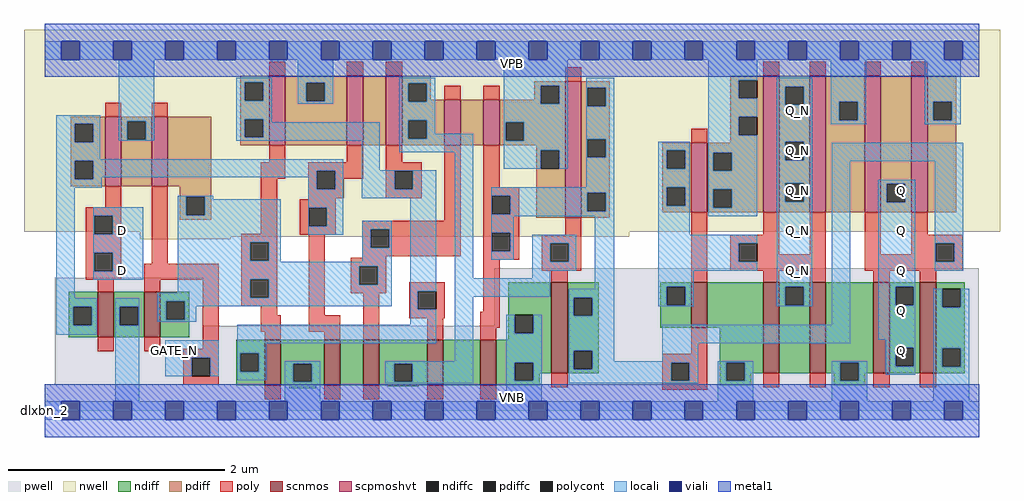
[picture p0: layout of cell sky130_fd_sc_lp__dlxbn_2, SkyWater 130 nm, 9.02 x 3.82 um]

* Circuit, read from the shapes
.subckt sky130_fd_sc_lp__dlxbn_2 D GATE_N VGND VNB VPB VPWR Q Q_N
XM1 VGND D n1 VNB sky130_fd_pr__nfet_01v8 w=0.42 l=0.15
XM2 n2 GATE_N VGND VNB sky130_fd_pr__nfet_01v8 w=0.42 l=0.15
XM3 VGND n2 n3 VNB sky130_fd_pr__nfet_01v8 w=0.42 l=0.15
XM4 n4 n1 VGND VNB sky130_fd_pr__nfet_01v8 w=0.42 l=0.15
XM5 n5 n2 n4 VNB sky130_fd_pr__nfet_01v8 w=0.42 l=0.15
XM6 n6 n3 n5 VNB sky130_fd_pr__nfet_01v8 w=0.42 l=0.15
XM7 VGND n7 n6 VNB sky130_fd_pr__nfet_01v8 w=0.42 l=0.15
XM8 n7 n5 VGND VNB sky130_fd_pr__nfet_01v8 w=0.84 l=0.15
XM9 VGND n7 n8 VNB sky130_fd_pr__nfet_01v8 w=0.42 l=0.15
XM10 Q_N n8 VGND VNB sky130_fd_pr__nfet_01v8 w=0.84 l=0.15 m=2
XM11 Q n7 VGND VNB sky130_fd_pr__nfet_01v8 w=0.84 l=0.15 m=2
XM12 VPWR D n1 VPB sky130_fd_pr__pfet_01v8_hvt w=0.64 l=0.15
XM13 n2 GATE_N VPWR VPB sky130_fd_pr__pfet_01v8_hvt w=0.64 l=0.15
XM14 VPWR n2 n3 VPB sky130_fd_pr__pfet_01v8_hvt w=0.64 l=0.15
XM15 n9 n1 VPWR VPB sky130_fd_pr__pfet_01v8_hvt w=0.64 l=0.15
XM16 n5 n3 n9 VPB sky130_fd_pr__pfet_01v8_hvt w=0.64 l=0.15
XM17 n10 n2 n5 VPB sky130_fd_pr__pfet_01v8_hvt w=0.42 l=0.15
XM18 VPWR n7 n10 VPB sky130_fd_pr__pfet_01v8_hvt w=0.42 l=0.15
XM19 n7 n5 VPWR VPB sky130_fd_pr__pfet_01v8_hvt w=1.26 l=0.15
XM20 VPWR n7 n8 VPB sky130_fd_pr__pfet_01v8_hvt w=0.64 l=0.15
XM21 Q_N n8 VPWR VPB sky130_fd_pr__pfet_01v8_hvt w=1.26 l=0.15 m=2
XM22 Q n7 VPWR VPB sky130_fd_pr__pfet_01v8_hvt w=1.26 l=0.15 m=2
.ends

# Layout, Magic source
magic
tech sky130A
magscale 1 2
<< nwell >>
rect -38 331 1766 704
rect 176 321 1081 331
rect 176 317 344 321
<< pwell >>
rect 19 157 293 246
rect 831 157 1727 263
rect 19 49 1727 157
rect 0 0 1728 49
<< scnmos >>
rect 98 136 128 220
rect 184 136 214 220
rect 407 47 437 131
rect 517 47 547 131
rect 589 47 619 131
rect 707 47 737 131
rect 805 47 835 131
rect 937 69 967 237
rect 1195 153 1225 237
rect 1328 69 1358 237
rect 1414 69 1444 237
rect 1532 69 1562 237
rect 1618 69 1648 237
<< scpmoshvt >>
rect 112 415 142 543
rect 198 415 228 543
rect 415 491 445 619
rect 559 491 589 619
rect 631 491 661 619
rect 739 491 769 575
rect 811 491 841 575
rect 962 357 992 609
rect 1195 367 1225 495
rect 1328 367 1358 619
rect 1414 367 1444 619
rect 1516 367 1546 619
rect 1602 367 1632 619
<< ndiff >>
rect 45 192 98 220
rect 45 158 53 192
rect 87 158 98 192
rect 45 136 98 158
rect 128 192 184 220
rect 128 158 139 192
rect 173 158 184 192
rect 128 136 184 158
rect 214 202 267 220
rect 214 168 225 202
rect 259 168 267 202
rect 214 136 267 168
rect 857 177 937 237
rect 857 143 869 177
rect 903 143 937 177
rect 857 131 937 143
rect 354 106 407 131
rect 354 72 362 106
rect 396 72 407 106
rect 354 47 407 72
rect 437 87 517 131
rect 437 53 460 87
rect 494 53 517 87
rect 437 47 517 53
rect 547 47 589 131
rect 619 87 707 131
rect 619 53 646 87
rect 680 53 707 87
rect 619 47 707 53
rect 737 47 805 131
rect 835 89 937 131
rect 835 55 869 89
rect 903 69 937 89
rect 967 209 1024 237
rect 967 175 978 209
rect 1012 175 1024 209
rect 967 111 1024 175
rect 1138 229 1195 237
rect 1138 195 1150 229
rect 1184 195 1195 229
rect 1138 153 1195 195
rect 1225 153 1328 237
rect 967 77 978 111
rect 1012 77 1024 111
rect 967 69 1024 77
rect 903 55 915 69
rect 835 47 915 55
rect 452 41 502 47
rect 634 45 692 47
rect 1248 89 1328 153
rect 1248 55 1260 89
rect 1294 69 1328 89
rect 1358 229 1414 237
rect 1358 195 1369 229
rect 1403 195 1414 229
rect 1358 69 1414 195
rect 1444 89 1532 237
rect 1444 69 1471 89
rect 1294 55 1306 69
rect 1248 47 1306 55
rect 1459 55 1471 69
rect 1505 69 1532 89
rect 1562 229 1618 237
rect 1562 195 1573 229
rect 1607 195 1618 229
rect 1562 116 1618 195
rect 1562 82 1573 116
rect 1607 82 1618 116
rect 1562 69 1618 82
rect 1648 225 1701 237
rect 1648 191 1659 225
rect 1693 191 1701 225
rect 1648 115 1701 191
rect 1648 81 1659 115
rect 1693 81 1701 115
rect 1648 69 1701 81
rect 1505 55 1517 69
rect 1459 47 1517 55
<< pdiff >>
rect 362 607 415 619
rect 362 573 370 607
rect 404 573 415 607
rect 48 530 112 543
rect 48 496 56 530
rect 90 496 112 530
rect 48 462 112 496
rect 48 428 56 462
rect 90 428 112 462
rect 48 415 112 428
rect 142 535 198 543
rect 142 501 153 535
rect 187 501 198 535
rect 142 415 198 501
rect 228 415 308 543
rect 362 539 415 573
rect 362 505 370 539
rect 404 505 415 539
rect 362 491 415 505
rect 445 606 559 619
rect 445 572 484 606
rect 518 572 559 606
rect 445 491 559 572
rect 589 491 631 619
rect 661 605 714 619
rect 1267 611 1328 619
rect 661 571 672 605
rect 706 575 714 605
rect 905 601 962 609
rect 905 575 917 601
rect 706 571 739 575
rect 661 537 739 571
rect 661 503 672 537
rect 706 503 739 537
rect 661 491 739 503
rect 769 491 811 575
rect 841 567 917 575
rect 951 567 962 601
rect 841 533 962 567
rect 841 499 852 533
rect 886 499 962 533
rect 841 491 962 499
rect 250 395 308 415
rect 250 361 262 395
rect 296 361 308 395
rect 250 353 308 361
rect 909 481 962 491
rect 909 447 917 481
rect 951 447 962 481
rect 909 357 962 447
rect 992 597 1045 609
rect 992 563 1003 597
rect 1037 563 1045 597
rect 992 502 1045 563
rect 1267 577 1283 611
rect 1317 577 1328 611
rect 1267 543 1328 577
rect 992 468 1003 502
rect 1037 468 1045 502
rect 1267 509 1283 543
rect 1317 509 1328 543
rect 1267 495 1328 509
rect 992 403 1045 468
rect 992 369 1003 403
rect 1037 369 1045 403
rect 992 357 1045 369
rect 1142 481 1195 495
rect 1142 447 1150 481
rect 1184 447 1195 481
rect 1142 413 1195 447
rect 1142 379 1150 413
rect 1184 379 1195 413
rect 1142 367 1195 379
rect 1225 477 1328 495
rect 1225 443 1236 477
rect 1270 443 1328 477
rect 1225 409 1328 443
rect 1225 375 1236 409
rect 1270 375 1328 409
rect 1225 367 1328 375
rect 1358 599 1414 619
rect 1358 565 1369 599
rect 1403 565 1414 599
rect 1358 497 1414 565
rect 1358 463 1369 497
rect 1403 463 1414 497
rect 1358 420 1414 463
rect 1358 386 1369 420
rect 1403 386 1414 420
rect 1358 367 1414 386
rect 1444 571 1516 619
rect 1444 537 1469 571
rect 1503 537 1516 571
rect 1444 367 1516 537
rect 1546 419 1602 619
rect 1546 385 1557 419
rect 1591 385 1602 419
rect 1546 367 1602 385
rect 1632 571 1685 619
rect 1632 537 1643 571
rect 1677 537 1685 571
rect 1632 367 1685 537
<< ndiffc >>
rect 53 158 87 192
rect 139 158 173 192
rect 225 168 259 202
rect 869 143 903 177
rect 362 72 396 106
rect 460 53 494 87
rect 646 53 680 87
rect 869 55 903 89
rect 978 175 1012 209
rect 1150 195 1184 229
rect 978 77 1012 111
rect 1260 55 1294 89
rect 1369 195 1403 229
rect 1471 55 1505 89
rect 1573 195 1607 229
rect 1573 82 1607 116
rect 1659 191 1693 225
rect 1659 81 1693 115
<< pdiffc >>
rect 370 573 404 607
rect 56 496 90 530
rect 56 428 90 462
rect 153 501 187 535
rect 370 505 404 539
rect 484 572 518 606
rect 672 571 706 605
rect 672 503 706 537
rect 917 567 951 601
rect 852 499 886 533
rect 262 361 296 395
rect 917 447 951 481
rect 1003 563 1037 597
rect 1283 577 1317 611
rect 1003 468 1037 502
rect 1283 509 1317 543
rect 1003 369 1037 403
rect 1150 447 1184 481
rect 1150 379 1184 413
rect 1236 443 1270 477
rect 1236 375 1270 409
rect 1369 565 1403 599
rect 1369 463 1403 497
rect 1369 386 1403 420
rect 1469 537 1503 571
rect 1557 385 1591 419
rect 1643 537 1677 571
<< poly >>
rect 415 619 445 645
rect 559 619 589 645
rect 631 619 661 645
rect 112 543 142 569
rect 198 543 228 569
rect 962 609 992 635
rect 1328 619 1358 645
rect 1414 619 1444 645
rect 1516 619 1546 645
rect 1602 619 1632 645
rect 739 575 769 601
rect 811 575 841 601
rect 415 459 445 491
rect 559 459 589 491
rect 112 376 142 415
rect 76 360 142 376
rect 76 326 92 360
rect 126 326 142 360
rect 76 292 142 326
rect 76 258 92 292
rect 126 258 142 292
rect 198 272 228 415
rect 400 429 445 459
rect 487 443 589 459
rect 400 327 430 429
rect 487 409 503 443
rect 537 429 589 443
rect 631 459 661 491
rect 631 443 697 459
rect 537 409 553 429
rect 487 393 553 409
rect 631 409 647 443
rect 681 409 697 443
rect 631 393 697 409
rect 487 391 538 393
rect 364 311 430 327
rect 472 375 538 391
rect 472 341 488 375
rect 522 341 538 375
rect 739 351 769 491
rect 472 325 538 341
rect 587 335 769 351
rect 364 277 380 311
rect 414 277 430 311
rect 76 242 142 258
rect 184 242 322 272
rect 98 220 128 242
rect 184 220 214 242
rect 98 110 128 136
rect 184 110 214 136
rect 292 114 322 242
rect 364 243 430 277
rect 364 209 380 243
rect 414 209 430 243
rect 364 193 430 209
rect 400 176 430 193
rect 488 176 518 325
rect 587 301 603 335
rect 637 301 769 335
rect 587 285 769 301
rect 811 413 841 491
rect 811 397 877 413
rect 811 363 827 397
rect 861 363 877 397
rect 811 329 877 363
rect 1195 495 1225 521
rect 811 295 827 329
rect 861 295 877 329
rect 962 325 992 357
rect 587 283 632 285
rect 566 267 632 283
rect 566 233 582 267
rect 616 233 632 267
rect 811 279 877 295
rect 919 309 992 325
rect 566 217 632 233
rect 674 221 740 237
rect 400 146 437 176
rect 488 146 547 176
rect 407 131 437 146
rect 517 131 547 146
rect 589 131 619 217
rect 674 187 690 221
rect 724 187 740 221
rect 674 171 740 187
rect 811 183 841 279
rect 919 275 935 309
rect 969 275 992 309
rect 919 259 992 275
rect 937 237 967 259
rect 1195 237 1225 367
rect 1328 325 1358 367
rect 1267 309 1358 325
rect 1267 275 1283 309
rect 1317 289 1358 309
rect 1414 289 1444 367
rect 1317 275 1444 289
rect 1267 259 1444 275
rect 1516 289 1546 367
rect 1602 325 1632 367
rect 1602 309 1697 325
rect 1602 289 1647 309
rect 1516 275 1647 289
rect 1681 275 1697 309
rect 1516 259 1697 275
rect 1328 237 1358 259
rect 1414 237 1444 259
rect 1532 237 1562 259
rect 1618 237 1648 259
rect 707 131 737 171
rect 805 153 841 183
rect 805 131 835 153
rect 256 98 322 114
rect 256 64 272 98
rect 306 64 322 98
rect 256 48 322 64
rect 1195 105 1225 153
rect 1142 89 1225 105
rect 407 21 437 47
rect 517 21 547 47
rect 589 21 619 47
rect 707 21 737 47
rect 805 21 835 47
rect 937 43 967 69
rect 1142 55 1158 89
rect 1192 55 1225 89
rect 1142 39 1225 55
rect 1328 43 1358 69
rect 1414 43 1444 69
rect 1532 43 1562 69
rect 1618 43 1648 69
<< polycont >>
rect 92 326 126 360
rect 92 258 126 292
rect 503 409 537 443
rect 647 409 681 443
rect 488 341 522 375
rect 380 277 414 311
rect 380 209 414 243
rect 603 301 637 335
rect 827 363 861 397
rect 827 295 861 329
rect 582 233 616 267
rect 690 187 724 221
rect 935 275 969 309
rect 1283 275 1317 309
rect 1647 275 1681 309
rect 272 64 306 98
rect 1158 55 1192 89
<< locali >>
rect 0 649 31 683
rect 65 649 127 683
rect 161 649 223 683
rect 257 649 319 683
rect 353 649 415 683
rect 449 649 511 683
rect 545 649 607 683
rect 641 649 703 683
rect 737 649 799 683
rect 833 649 895 683
rect 929 649 991 683
rect 1025 649 1087 683
rect 1121 649 1183 683
rect 1217 649 1279 683
rect 1313 649 1375 683
rect 1409 649 1471 683
rect 1505 649 1567 683
rect 1601 649 1663 683
rect 1697 649 1728 683
rect 22 530 103 546
rect 22 496 56 530
rect 90 496 103 530
rect 137 535 203 649
rect 137 501 153 535
rect 187 501 203 535
rect 137 499 203 501
rect 354 607 420 615
rect 354 573 370 607
rect 404 573 420 607
rect 354 539 420 573
rect 468 606 534 649
rect 468 572 484 606
rect 518 572 534 606
rect 468 567 534 572
rect 656 605 722 615
rect 656 571 672 605
rect 706 571 722 605
rect 354 505 370 539
rect 404 533 420 539
rect 656 537 722 571
rect 404 505 620 533
rect 354 499 620 505
rect 22 465 103 496
rect 22 462 552 465
rect 22 428 56 462
rect 90 443 552 462
rect 90 431 503 443
rect 90 428 106 431
rect 22 412 106 428
rect 22 208 56 412
rect 487 409 503 431
rect 537 409 552 443
rect 246 395 312 397
rect 90 360 182 376
rect 90 326 92 360
rect 126 326 182 360
rect 90 292 182 326
rect 90 258 92 292
rect 126 258 182 292
rect 90 242 182 258
rect 246 361 262 395
rect 296 391 312 395
rect 296 361 437 391
rect 246 311 437 361
rect 487 375 552 409
rect 586 444 620 499
rect 656 503 672 537
rect 706 512 722 537
rect 849 601 967 649
rect 849 567 917 601
rect 951 567 967 601
rect 849 533 967 567
rect 706 503 792 512
rect 656 478 792 503
rect 586 443 724 444
rect 586 409 647 443
rect 681 409 724 443
rect 586 393 724 409
rect 487 341 488 375
rect 522 341 552 375
rect 487 325 552 341
rect 587 335 642 351
rect 246 277 380 311
rect 414 277 437 311
rect 246 275 437 277
rect 587 301 603 335
rect 637 301 642 335
rect 587 275 642 301
rect 246 267 642 275
rect 246 243 582 267
rect 246 218 380 243
rect 209 209 380 218
rect 414 233 582 243
rect 616 233 642 267
rect 414 209 642 233
rect 22 192 97 208
rect 22 158 53 192
rect 87 158 97 192
rect 22 140 97 158
rect 131 192 175 208
rect 131 158 139 192
rect 173 158 175 192
rect 209 202 642 209
rect 209 168 225 202
rect 259 193 642 202
rect 676 221 724 393
rect 259 168 280 193
rect 209 164 280 168
rect 676 187 690 221
rect 676 159 724 187
rect 131 17 175 158
rect 223 98 322 130
rect 223 64 272 98
rect 306 64 322 98
rect 356 125 724 159
rect 758 245 792 478
rect 849 499 852 533
rect 886 499 967 533
rect 849 481 967 499
rect 849 447 917 481
rect 951 447 967 481
rect 1001 597 1053 615
rect 1001 563 1003 597
rect 1037 563 1053 597
rect 1001 502 1053 563
rect 1001 468 1003 502
rect 1037 468 1053 502
rect 1227 611 1317 649
rect 1227 577 1283 611
rect 1227 543 1317 577
rect 1227 509 1283 543
rect 1001 413 1053 468
rect 826 403 1053 413
rect 826 397 1003 403
rect 826 363 827 397
rect 861 369 1003 397
rect 1037 369 1053 403
rect 861 363 1053 369
rect 826 359 1053 363
rect 826 329 867 359
rect 826 295 827 329
rect 861 295 867 329
rect 826 279 867 295
rect 901 309 983 325
rect 901 275 935 309
rect 969 275 983 309
rect 901 259 983 275
rect 901 245 935 259
rect 758 211 935 245
rect 1017 225 1053 359
rect 356 106 410 125
rect 356 72 362 106
rect 396 72 410 106
rect 758 91 792 211
rect 969 209 1053 225
rect 356 56 410 72
rect 444 87 510 91
rect 444 53 460 87
rect 494 53 510 87
rect 444 17 510 53
rect 630 87 792 91
rect 630 53 646 87
rect 680 53 792 87
rect 630 51 792 53
rect 853 143 869 177
rect 903 143 919 177
rect 853 89 919 143
rect 853 55 869 89
rect 903 55 919 89
rect 853 17 919 55
rect 969 175 978 209
rect 1012 175 1053 209
rect 1134 481 1193 497
rect 1134 447 1150 481
rect 1184 447 1193 481
rect 1134 413 1193 447
rect 1134 379 1150 413
rect 1184 379 1193 413
rect 1134 325 1193 379
rect 1227 477 1317 509
rect 1227 443 1236 477
rect 1270 443 1317 477
rect 1227 409 1317 443
rect 1227 375 1236 409
rect 1270 375 1317 409
rect 1227 359 1317 375
rect 1353 599 1419 615
rect 1353 565 1369 599
rect 1403 565 1419 599
rect 1353 497 1419 565
rect 1453 571 1519 649
rect 1453 537 1469 571
rect 1503 537 1519 571
rect 1453 529 1519 537
rect 1627 571 1693 649
rect 1627 537 1643 571
rect 1677 537 1693 571
rect 1627 529 1693 537
rect 1353 463 1369 497
rect 1403 463 1419 497
rect 1353 420 1419 463
rect 1353 386 1369 420
rect 1403 386 1419 420
rect 1134 309 1317 325
rect 1134 275 1283 309
rect 1134 259 1317 275
rect 1134 229 1200 259
rect 1134 195 1150 229
rect 1184 195 1200 229
rect 1134 193 1200 195
rect 1353 229 1419 386
rect 1353 195 1369 229
rect 1403 195 1419 229
rect 1353 193 1419 195
rect 1455 461 1698 495
rect 969 111 1053 175
rect 1455 159 1489 461
rect 969 77 978 111
rect 1012 91 1053 111
rect 1142 125 1489 159
rect 1541 419 1609 427
rect 1541 385 1557 419
rect 1591 385 1609 419
rect 1541 229 1609 385
rect 1645 309 1698 461
rect 1645 275 1647 309
rect 1681 275 1698 309
rect 1645 259 1698 275
rect 1541 195 1573 229
rect 1607 195 1609 229
rect 1541 131 1609 195
rect 1142 91 1208 125
rect 1555 116 1609 131
rect 1012 89 1208 91
rect 1012 77 1158 89
rect 969 55 1158 77
rect 1192 55 1208 89
rect 969 51 1208 55
rect 1244 89 1310 91
rect 1244 55 1260 89
rect 1294 55 1310 89
rect 1244 17 1310 55
rect 1455 89 1521 91
rect 1455 55 1471 89
rect 1505 55 1521 89
rect 1555 82 1573 116
rect 1607 82 1609 116
rect 1555 66 1609 82
rect 1643 191 1659 225
rect 1693 191 1709 225
rect 1643 115 1709 191
rect 1643 81 1659 115
rect 1693 81 1709 115
rect 1455 17 1521 55
rect 1643 17 1709 81
rect 0 -17 31 17
rect 65 -17 127 17
rect 161 -17 223 17
rect 257 -17 319 17
rect 353 -17 415 17
rect 449 -17 511 17
rect 545 -17 607 17
rect 641 -17 703 17
rect 737 -17 799 17
rect 833 -17 895 17
rect 929 -17 991 17
rect 1025 -17 1087 17
rect 1121 -17 1183 17
rect 1217 -17 1279 17
rect 1313 -17 1375 17
rect 1409 -17 1471 17
rect 1505 -17 1567 17
rect 1601 -17 1663 17
rect 1697 -17 1728 17
<< viali >>
rect 31 649 65 683
rect 127 649 161 683
rect 223 649 257 683
rect 319 649 353 683
rect 415 649 449 683
rect 511 649 545 683
rect 607 649 641 683
rect 703 649 737 683
rect 799 649 833 683
rect 895 649 929 683
rect 991 649 1025 683
rect 1087 649 1121 683
rect 1183 649 1217 683
rect 1279 649 1313 683
rect 1375 649 1409 683
rect 1471 649 1505 683
rect 1567 649 1601 683
rect 1663 649 1697 683
rect 31 -17 65 17
rect 127 -17 161 17
rect 223 -17 257 17
rect 319 -17 353 17
rect 415 -17 449 17
rect 511 -17 545 17
rect 607 -17 641 17
rect 703 -17 737 17
rect 799 -17 833 17
rect 895 -17 929 17
rect 991 -17 1025 17
rect 1087 -17 1121 17
rect 1183 -17 1217 17
rect 1279 -17 1313 17
rect 1375 -17 1409 17
rect 1471 -17 1505 17
rect 1567 -17 1601 17
rect 1663 -17 1697 17
<< metal1 >>
rect 0 683 1728 715
rect 0 649 31 683
rect 65 649 127 683
rect 161 649 223 683
rect 257 649 319 683
rect 353 649 415 683
rect 449 649 511 683
rect 545 649 607 683
rect 641 649 703 683
rect 737 649 799 683
rect 833 649 895 683
rect 929 649 991 683
rect 1025 649 1087 683
rect 1121 649 1183 683
rect 1217 649 1279 683
rect 1313 649 1375 683
rect 1409 649 1471 683
rect 1505 649 1567 683
rect 1601 649 1663 683
rect 1697 649 1728 683
rect 0 617 1728 649
rect 0 17 1728 49
rect 0 -17 31 17
rect 65 -17 127 17
rect 161 -17 223 17
rect 257 -17 319 17
rect 353 -17 415 17
rect 449 -17 511 17
rect 545 -17 607 17
rect 641 -17 703 17
rect 737 -17 799 17
rect 833 -17 895 17
rect 929 -17 991 17
rect 1025 -17 1087 17
rect 1121 -17 1183 17
rect 1217 -17 1279 17
rect 1313 -17 1375 17
rect 1409 -17 1471 17
rect 1505 -17 1567 17
rect 1601 -17 1663 17
rect 1697 -17 1728 17
rect 0 -49 1728 -17
<< labels >>
flabel pwell s 0 0 1728 49 0 FreeSans 200 0 0 0 VNB
port 4 nsew ground bidirectional
flabel nwell s 0 617 1728 666 0 FreeSans 200 0 0 0 VPB
port 5 nsew power bidirectional
rlabel comment s 0 0 0 0 4 dlxbn_2
flabel metal1 s 0 617 1728 666 0 FreeSans 340 0 0 0 VPWR
port 6 nsew power bidirectional
flabel metal1 s 0 0 1728 49 0 FreeSans 340 0 0 0 VGND
port 3 nsew ground bidirectional
flabel locali s 1567 94 1601 128 0 FreeSans 340 0 0 0 Q
port 7 nsew signal output
flabel locali s 1567 168 1601 202 0 FreeSans 340 0 0 0 Q
port 7 nsew signal output
flabel locali s 1567 242 1601 276 0 FreeSans 340 0 0 0 Q
port 7 nsew signal output
flabel locali s 1567 316 1601 350 0 FreeSans 340 0 0 0 Q
port 7 nsew signal output
flabel locali s 1567 390 1601 424 0 FreeSans 340 0 0 0 Q
port 7 nsew signal output
flabel locali s 1375 242 1409 276 0 FreeSans 340 0 0 0 Q_N
port 8 nsew signal output
flabel locali s 1375 316 1409 350 0 FreeSans 340 0 0 0 Q_N
port 8 nsew signal output
flabel locali s 1375 390 1409 424 0 FreeSans 340 0 0 0 Q_N
port 8 nsew signal output
flabel locali s 1375 464 1409 498 0 FreeSans 340 0 0 0 Q_N
port 8 nsew signal output
flabel locali s 1375 538 1409 572 0 FreeSans 340 0 0 0 Q_N
port 8 nsew signal output
flabel locali s 127 242 161 276 0 FreeSans 340 0 0 0 D
port 1 nsew signal input
flabel locali s 127 316 161 350 0 FreeSans 340 0 0 0 D
port 1 nsew signal input
flabel locali s 223 94 257 128 0 FreeSans 340 0 0 0 GATE_N
port 2 nsew clock input
<< properties >>
string LEFsite unit
string LEFclass CORE
string FIXED_BBOX 0 0 1728 666
string GDS_FILE $PDKPATH/libs.ref/sky130_fd_sc_lp/gds/sky130_fd_sc_lp.gds
string LEFsymmetry X Y R90
string GDS_END 5953208
string GDS_START 5939398
<< end >>
